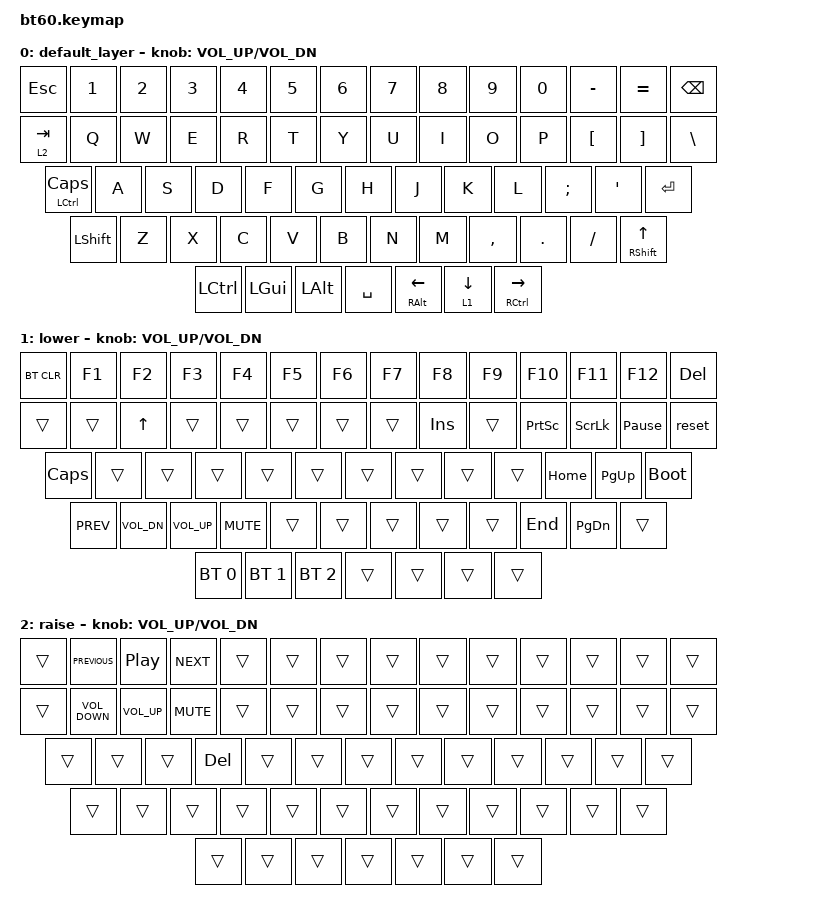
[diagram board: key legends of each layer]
#include <behaviors.dtsi>
#include <dt-bindings/zmk/keys.h>
#include <dt-bindings/zmk/bt.h>
#define DEFAULT 0
#define LOWER   1
#define RAISE   2


/ {
	keymap {
		compatible = "zmk,keymap";

		default_layer {
				// ------------------------------------------------------------------------------------------
				// |  `  |  1  |  2  |  3  |  4  |  5  |  6  |  7  |  8  |  9  |  0  |  -  |  =  |   BKSP
				// | TAB  |  Q  |  W  |  E  |  R  |  T  |  Y  |  U  |  I  |  O  |  P  |  [  |  ]  |   |
				// | CAPS  |  A  |  S  |  D  |  F  |  G  |  H  |  J  |  K  |  L  |  ;  |  '  |     ENTER
				// |  SHIFT    |  Z  |  X  |  C  |  V  |  B  |  N  |  M  |  ,  |  .  | /   |      SHIFT
				// |  CTL  |  WIN  |  ALT  |            SPACE               | ALT | 1    |  MENU    |  CTRL
				// ------------------------------------------------------------------------------------------
			bindings = <

				&kp ESC &kp N1 &kp N2 &kp N3 &kp N4 &kp N5 &kp N6 &kp N7 &kp  N8   &kp  N9 &kp  N0  &kp MINUS &kp EQUAL &kp BSPC
				&lt 2 TAB  &kp Q  &kp W  &kp E  &kp R  &kp T  &kp Y  &kp U  &kp  I    &kp  O  &kp  P   &kp LBKT &kp RBKT   &kp BSLH
				&mt LCTRL CLCK  &kp A  &kp S  &kp D  &kp F  &kp G  &kp H  &kp J  &kp  K    &kp  L  &kp SEMI &kp SQT            &kp RET
				&kp LSHFT  &kp Z  &kp X  &kp C  &kp V  &kp B  &kp N  &kp M  &kp COMMA &kp DOT &kp FSLH                   &mt RSHFT UP
				&kp LCTRL &kp LGUI &kp LALT            &kp SPACE                          &mt RALT LEFT &lt 1 DOWN &mt RCTRL RIGHT
			>;
			sensor-bindings = <&inc_dec_kp C_VOL_UP C_VOL_DN>;
		};
		lower {
			bindings = <
				&bt BT_CLR &kp F1 &kp F2 &kp F3 &kp F4 &kp F5 &kp F6 &kp F7 &kp F8 &kp F9 &kp F10 &kp F11 &kp F12 &kp DEL
				&trans &trans &kp UP &trans &trans &trans &trans &trans &kp INS &trans &kp PSCRN &kp SLCK &kp PAUSE_BREAK &reset
				&kp CAPS    &trans &trans &trans &trans &trans &trans &trans &trans &trans &kp HOME  &kp PG_UP   &bootloader
				&kp C_PREV &kp C_VOL_DN &kp C_VOL_UP &kp C_MUTE &trans &trans &trans &trans &trans &kp END &kp PG_DN  &trans
				&bt BT_SEL 0 &bt BT_SEL 1  &bt BT_SEL 2              &trans                            &trans   &trans &trans
			>;
			sensor-bindings = <&inc_dec_kp C_VOL_UP C_VOL_DN>;
		};
		raise {
			bindings = <
				&trans &kp C_PREVIOUS &kp C_PLAY_PAUSE &kp C_NEXT &trans &trans &trans &trans &trans &trans &trans &trans &trans &trans
				&trans &kp C_VOLUME_DOWN &kp C_VOLUME_UP &kp K_MUTE &trans &trans &trans &trans &trans &trans &trans &trans &trans &trans
				&trans    &trans &trans &kp DEL &trans &trans &trans &trans &trans &trans &trans  &trans   &trans
				&trans &trans &trans &trans &trans &trans &trans &trans &trans &trans &trans  &trans
				&trans &trans  &trans              &trans                            &trans   &trans &trans
			>;
			sensor-bindings = <&inc_dec_kp C_VOL_UP C_VOL_DN>;
		};
	};
};
